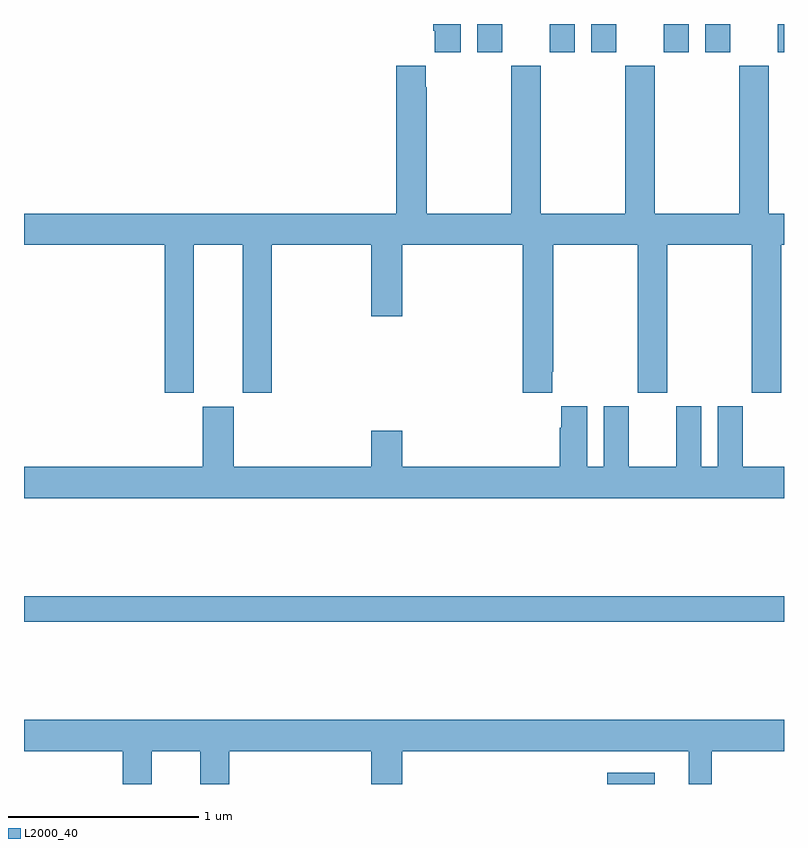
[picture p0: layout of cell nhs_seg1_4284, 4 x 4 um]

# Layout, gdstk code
import gdstk
lib = gdstk.Library(unit=1e-6, precision=1e-09)
def R(c, l, rs):  # rectangles x0, y0, x1, y1
    for r in rs: c.add(gdstk.rectangle(r[:2], r[2:], *l))
def P(c, l, *ps):  # polygons
    for p in ps: c.add(gdstk.Polygon(p, *l))
L2000_40 = (2000, 40)

nhs_seg1_4284 = lib.new_cell('nhs_seg1_4284')
R(nhs_seg1_4284, L2000_40, [(346.07,578.199,346.321,578.257), (343,579.052,347,579.188), (345.386,582.051,345.517,582.199), (345.767,582.051,345.898,582.199), (345.986,582.051,346.117,582.199), (346.367,582.051,346.498,582.199), (346.586,582.051,346.717,582.199), (346.967,582.051,347,582.199)])
P(nhs_seg1_4284, L2000_40, [(345.298,582.199),(345.155,582.199),(345.155,582.163),(345.161,582.163),(345.161,582.051),(345.298,582.051)],
  [(345.72,581.98),(345.565,581.98),(345.565,581.2),(345.12,581.2),(345.12,581.867),(345.115,581.867),(345.115,581.98),(344.96,581.98),(344.96,581.2),(343,581.2),(343,581.036),(343.742,581.036),(343.742,580.257),(343.894,580.257),(343.894,581.036),(344.15,581.036),(344.15,580.257),(344.303,580.257),(344.303,581.036),(344.828,581.036),(344.828,580.662),(344.992,580.662),(344.992,581.036),(345.626,581.036),(345.626,580.257),(345.781,580.257),(345.781,580.369),(345.786,580.369),(345.786,581.036),(346.231,581.036),(346.231,580.257),(346.386,580.257),(346.386,581.036),(346.831,581.036),(346.831,580.257),(346.986,580.257),(346.986,581.036),(347,581.036),(347,581.2),(346.92,581.2),(346.92,581.98),(346.765,581.98),(346.765,581.2),(346.32,581.2),(346.32,581.98),(346.165,581.98),(346.165,581.2),(345.72,581.2)],
  [(343.94,580.185),(343.94,579.868),(343,579.868),(343,579.704),(347,579.704),(347,579.868),(346.783,579.868),(346.783,580.186),(346.652,580.186),(346.652,579.868),(346.564,579.868),(346.564,580.186),(346.433,580.186),(346.433,579.868),(346.183,579.868),(346.183,580.186),(346.052,580.186),(346.052,579.868),(345.964,579.868),(345.964,580.186),(345.827,580.186),(345.827,580.073),(345.821,580.073),(345.821,579.868),(344.992,579.868),(344.992,580.057),(344.828,580.057),(344.828,579.868),(344.104,579.868),(344.104,580.185)],
  [(343.672,578.372),(343.928,578.372),(343.928,578.199),(344.081,578.199),(344.081,578.372),(344.828,578.372),(344.828,578.199),(344.992,578.199),(344.992,578.372),(346.499,578.372),(346.499,578.199),(346.621,578.199),(346.621,578.372),(347,578.372),(347,578.536),(343,578.536),(343,578.372),(343.52,578.372),(343.52,578.199),(343.672,578.199)])

lib.write_gds('nhs_seg1_4284.gds')
